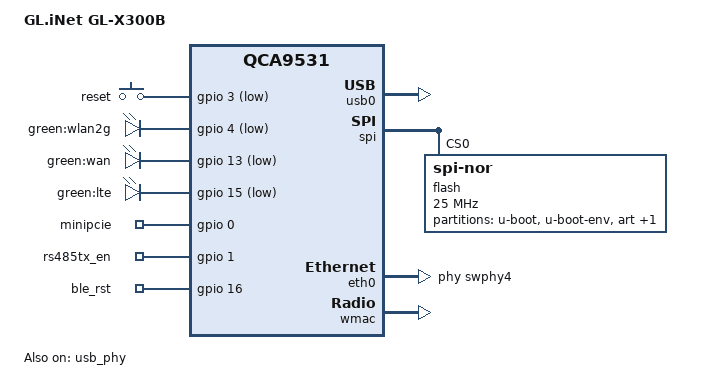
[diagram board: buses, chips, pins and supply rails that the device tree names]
// SPDX-License-Identifier: GPL-2.0-or-later OR MIT

#include "qca953x.dtsi"

#include <dt-bindings/gpio/gpio.h>
#include <dt-bindings/input/input.h>

/ {
	compatible = "glinet,gl-x300b", "qca,qca9531";
	model = "GL.iNet GL-X300B";

	keys {
		compatible = "gpio-keys";

		pinctrl-names = "default";
		pinctrl-0 = <&jtag_disable_pins>;

		reset {
			label = "reset";
			linux,code = <KEY_RESTART>;
			gpios = <&gpio 3 GPIO_ACTIVE_LOW>;
		};
	};

	leds {
		compatible = "gpio-leds";

		wlan2g {
			label = "green:wlan2g";
			gpios = <&gpio 4 GPIO_ACTIVE_LOW>;
			linux,default-trigger = "phy0tpt";
		};

		wan {
			label = "green:wan";
			gpios = <&gpio 13 GPIO_ACTIVE_LOW>;
		};

		lte {
			label = "green:lte";
			gpios = <&gpio 15 GPIO_ACTIVE_LOW>;
		};
	};

	gpio-export {
		compatible = "gpio-export";

		minipcie {
			gpio-export,name = "minipcie";
			gpio-export,output = <0>;
			gpios = <&gpio 0 GPIO_ACTIVE_HIGH>;
		};

		rs485tx_en {
			gpio-export,name = "rs485tx_en";
			gpio-export,output = <0>;
			gpios = <&gpio 1 GPIO_ACTIVE_HIGH>;
		};

		ble_rst {
			gpio-export,name = "ble_rst";
			gpio-export,output = <0>;
			gpios = <&gpio 16 GPIO_ACTIVE_HIGH>;
		};
	};

	watchdog {
		compatible = "hw_wdt";
		dog_en_gpio = <12>;
		feed_dog_gpio = <2>;
		feed_dog_interval = <100000000>;
	};
};

&usb0 {
	status = "okay";
};

&usb_phy {
	status = "okay";
};

&spi {
	status = "okay";

	flash@0 {
		compatible = "jedec,spi-nor";
		reg = <0>;
		spi-max-frequency = <25000000>;

		partitions {
			compatible = "fixed-partitions";
			#address-cells = <1>;
			#size-cells = <1>;

			partition@0 {
				label = "u-boot";
				reg = <0x000000 0x040000>;
				read-only;
			};

			partition@40000 {
				label = "u-boot-env";
				reg = <0x040000 0x010000>;
			};

			art: partition@50000 {
				label = "art";
				reg = <0x050000 0x010000>;
				read-only;
			};

			partition@60000 {
				compatible = "denx,uimage";
				label = "firmware";
				reg = <0x060000 0xfa0000>;
			};

		};
	};
};

&eth0 {
	status = "okay";

	nvmem-cells = <&macaddr_art_0>;
	nvmem-cell-names = "mac-address";

	phy-handle = <&swphy4>;
};

&eth1 {
	nvmem-cells = <&macaddr_art_0>;
	nvmem-cell-names = "mac-address";
	mac-address-increment = <1>;
};

&wmac {
	status = "okay";

	mtd-cal-data = <&art 0x1000>;
};

&art {
	compatible = "nvmem-cells";
	#address-cells = <1>;
	#size-cells = <1>;

	macaddr_art_0: macaddr@0 {
		reg = <0x0 0x6>;
	};
};
